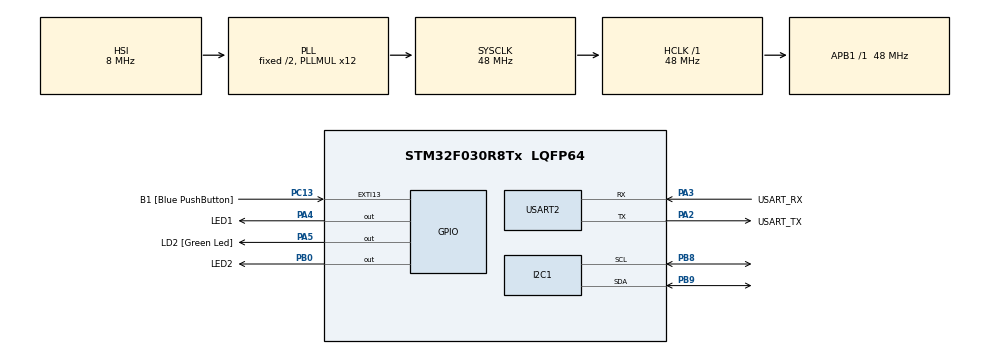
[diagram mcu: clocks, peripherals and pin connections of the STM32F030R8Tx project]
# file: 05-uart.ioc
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Dma.Request0=USART2_RX
Dma.USART2_RX.0.Direction=DMA_PERIPH_TO_MEMORY
Dma.USART2_RX.0.Instance=DMA1_Channel5
Dma.USART2_RX.0.MemDataAlignment=DMA_MDATAALIGN_BYTE
Dma.USART2_RX.0.MemInc=DMA_MINC_ENABLE
Dma.USART2_RX.0.Mode=DMA_CIRCULAR
Dma.USART2_RX.0.PeriphDataAlignment=DMA_PDATAALIGN_BYTE
Dma.USART2_RX.0.PeriphInc=DMA_PINC_DISABLE
Dma.USART2_RX.0.Priority=DMA_PRIORITY_LOW
I2C1.Timing=0x00201D2B
Mcu.Family=STM32F0
Mcu.Name=STM32F030R8Tx
Mcu.Package=LQFP64
NVIC.DMA1_Channel4_5_IRQn=true\:0\:0\:false\:false\:true\:false\:true\:true
PA13.GPIO_Label=TMS
PA13.Mode=Serial_Wire
PA13.Signal=SYS_SWDIO
PA14.GPIO_Label=TCK
PA14.Mode=Serial_Wire
PA14.Signal=SYS_SWCLK
PA2.GPIO_Label=USART_TX
PA2.GPIO_Mode=GPIO_MODE_AF_PP
PA2.GPIO_PuPd=GPIO_NOPULL
PA2.GPIO_Speed=GPIO_SPEED_FREQ_LOW
PA2.Mode=Asynchronous
PA2.Signal=USART2_TX
PA3.GPIO_Label=USART_RX
PA3.GPIO_Mode=GPIO_MODE_AF_PP
PA3.GPIO_PuPd=GPIO_NOPULL
PA3.GPIO_Speed=GPIO_SPEED_FREQ_LOW
PA3.Mode=Asynchronous
PA3.Signal=USART2_RX
PA4.GPIO_Label=LED1
PA4.Signal=GPIO_Output
PA5.GPIO_Label=LD2 [Green Led]
PA5.GPIO_Mode=GPIO_MODE_OUTPUT_PP
PA5.GPIO_PuPd=GPIO_NOPULL
PA5.GPIO_Speed=GPIO_SPEED_FREQ_LOW
PA5.Signal=GPIO_Output
PB0.GPIO_Label=LED2
PB0.Signal=GPIO_Output
PB8.Mode=I2C
PB8.Signal=I2C1_SCL
PB9.Mode=I2C
PB9.Signal=I2C1_SDA
PC13.GPIO_Label=B1 [Blue PushButton]
PC13.GPIO_ModeDefaultEXTI=GPIO_MODE_IT_FALLING
PC13.Signal=GPXTI13
PC14-OSC32_IN.Mode=LSE-External-Oscillator
PC14-OSC32_IN.Signal=RCC_OSC32_IN
PC15-OSC32_OUT.Mode=LSE-External-Oscillator
PC15-OSC32_OUT.Signal=RCC_OSC32_OUT
PF0-OSC_IN.Mode=HSE-External-Clock-Source
PF0-OSC_IN.Signal=RCC_OSC_IN
PF1-OSC_OUT.Signal=RCC_OSC_OUT
ProjectManager.HeapSize=0x200
ProjectManager.StackSize=0x400
ProjectManager.TargetToolchain=STM32CubeIDE
RCC.AHBFreq_Value=48000000
RCC.APB1Freq_Value=48000000
RCC.APB1TimFreq_Value=48000000
RCC.HCLKFreq_Value=48000000
RCC.PLLMUL=RCC_PLL_MUL12
RCC.SYSCLKFreq_VALUE=48000000
RCC.SYSCLKSource=RCC_SYSCLKSOURCE_PLLCLK
USART2.VirtualMode-Asynchronous=VM_ASYNC
board=NUCLEO-F030R8

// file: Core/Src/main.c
/* USER CODE BEGIN Header */
/**
 ******************************************************************************
 * @file           : main.c
 * @brief          : Main program body
 ******************************************************************************
 * @attention
 *
 * Copyright (c) 2024 STMicroelectronics.
 * All rights reserved.
 *
 * This software is licensed under terms that can be found in the LICENSE file
 * in the root directory of this software component.
 * If no LICENSE file comes with this software, it is provided AS-IS.
 *
 ******************************************************************************
 */
/* USER CODE END Header */
#include "main.h"

/* USER CODE BEGIN Includes */
#include <stdio.h>
#include <stdlib.h>
#include <string.h>
/* USER CODE END Includes */

/* USER CODE BEGIN PD */
#define RX_BUFFER_LEN 64
#define uart_rx_write_ptr (RX_BUFFER_LEN - hdma_usart2_rx.Instance->CNDTR)
#define CMD_BUFFER_LEN 128
#define EEPROM_ADDR 0xA0
/* USER CODE END PD */

I2C_HandleTypeDef hi2c1;

UART_HandleTypeDef huart2;
DMA_HandleTypeDef hdma_usart2_rx;

/* USER CODE BEGIN PV */
static uint8_t uart_rx_buf[RX_BUFFER_LEN];
static volatile uint16_t uart_rx_read_ptr = 0;
/* USER CODE END PV */

void SystemClock_Config(void);
static void MX_GPIO_Init(void);
static void MX_DMA_Init(void);
static void MX_USART2_UART_Init(void);
static void MX_I2C1_Init(void);
/* USER CODE BEGIN PFP */
static void uart_byte_available(uint8_t c);
static void uart_process_command(char*);
/* USER CODE END PFP */

/* USER CODE BEGIN 0 */
int _write(int file, char const *buf, int n)
{
	/* stdout redirection to UART2 */
	HAL_UART_Transmit(&huart2, (uint8_t*)(buf), n, HAL_MAX_DELAY);
	return n;
}

static void uart_byte_available(uint8_t c)
{
	static uint16_t cnt;
	static char data[CMD_BUFFER_LEN];
	if (cnt < CMD_BUFFER_LEN && c >= 32 && c <= 126) data[cnt++] = c;
	if ((c == '\n' || c == '\r') && cnt > 0) {
		data[cnt] = '\0';
		uart_process_command(data);
		cnt = 0;
	}
}

static void uart_process_command(char *cmd){
	char *token;
	uint16_t addr;
	uint8_t value;
	token = strtok(strtok(cmd, "\n"), " ");
	if (strcasecmp(token, "HELLO") == 0) {
		printf("Communication OK");
	}
	else if (strcasecmp(token, "LED1") == 0) {
		token = strtok(NULL, " ");
		if (strcasecmp(token, "ON") == 0) {
			HAL_GPIO_WritePin(LED1_GPIO_Port, LED1_Pin, GPIO_PIN_SET);
		} else if (strcasecmp(token, "OFF") == 0) {
			HAL_GPIO_WritePin(LED1_GPIO_Port, LED1_Pin, GPIO_PIN_RESET);
		}
	}
	else if (strcasecmp(token, "LED2") == 0) {
		token = strtok(NULL, " ");
		if (strcasecmp(token, "ON") == 0) {
			HAL_GPIO_WritePin(LED2_GPIO_Port, LED2_Pin, GPIO_PIN_SET);
		} else if (strcasecmp(token, "OFF") == 0) {
			HAL_GPIO_WritePin(LED2_GPIO_Port, LED2_Pin, GPIO_PIN_RESET);
		}
	}
	else if (strcasecmp(token, "STATUS") == 0) {
		printf("LED 1 is ");
		printf(HAL_GPIO_ReadPin(LED1_GPIO_Port, LED1_Pin) ? "ON" : "OFF");
		printf("\nLED 2 is ");
		printf(HAL_GPIO_ReadPin(LED2_GPIO_Port, LED2_Pin) ? "ON" : "OFF");
	}
	else if (strcasecmp(token, "READ") == 0) {
		token = strtok(NULL, " ");
		addr = atoi(token);
		while (HAL_I2C_IsDeviceReady(&hi2c1, EEPROM_ADDR, 300, 1000) != HAL_OK) {}
		HAL_I2C_Mem_Read(&hi2c1, EEPROM_ADDR, addr, I2C_MEMADD_SIZE_16BIT, &value, 1, 1000);
		printf("Address %d = %d", addr, value);
	}
	else if (strcasecmp(token, "WRITE") == 0) {
		token = strtok(NULL, " ");
		addr = atoi(token);
		token = strtok(NULL, " ");
		value = atoi(token);
		while (HAL_I2C_IsDeviceReady(&hi2c1, EEPROM_ADDR, 300, 1000)!= HAL_OK) {}
		HAL_I2C_Mem_Write(&hi2c1, EEPROM_ADDR, addr, I2C_MEMADD_SIZE_16BIT, &value, 1, 1000);
		printf("OK");
	}
	else if (strcasecmp(token, "DUMP") == 0) {
		for (int i = 0x0000; i <= 0x000F; i++) {
			while (HAL_I2C_IsDeviceReady(&hi2c1, EEPROM_ADDR, 300, 1000) != HAL_OK) {}
			HAL_I2C_Mem_Read(&hi2c1, EEPROM_ADDR, i, I2C_MEMADD_SIZE_16BIT, &value, 1, 1000);
			printf("%02d", value);
			if (i % 8 == 7) {
				printf("\n");
			} else {
				printf(" ");
			}
		}
	} else if (strcasecmp(token, "CLEAR") == 0) {
		for (int i = 0x0000; i <= 0x000F; i++) {
			value = 0;
			while (HAL_I2C_IsDeviceReady(&hi2c1, EEPROM_ADDR, 300, 1000) != HAL_OK) {}
			HAL_I2C_Mem_Write(&hi2c1, EEPROM_ADDR, i, I2C_MEMADD_SIZE_16BIT, &value, 1, 1000);
		}
		printf("OK");
	} else {
		printf("\'%s\' is not a valid command.", token);
	}
	printf("\n");
}
/* USER CODE END 0 */

int main(void)
{

  /* MCU Configuration--------------------------------------------------------*/

  /* Reset of all peripherals, Initializes the Flash interface and the Systick. */
  HAL_Init();

  /* Configure the system clock */
  SystemClock_Config();

  /* Initialize all configured peripherals */
  MX_GPIO_Init();
  MX_DMA_Init();
  MX_USART2_UART_Init();
  MX_I2C1_Init();
  /* USER CODE BEGIN 2 */
	HAL_UART_Receive_DMA(&huart2, uart_rx_buf, RX_BUFFER_LEN);

  /* USER CODE END 2 */

  /* Infinite loop */
  /* USER CODE BEGIN WHILE */
	while (1)
	{
		while (uart_rx_read_ptr != uart_rx_write_ptr) {
			uint8_t b = uart_rx_buf[uart_rx_read_ptr];

			// increase read pointer
			if (++uart_rx_read_ptr >= RX_BUFFER_LEN) uart_rx_read_ptr = 0;

			// process every received byte with the RX state machine
			uart_byte_available(b);
		}
    /* USER CODE END WHILE */

	}
}

void SystemClock_Config(void)
{
  RCC_OscInitTypeDef RCC_OscInitStruct = {0};
  RCC_ClkInitTypeDef RCC_ClkInitStruct = {0};
  RCC_PeriphCLKInitTypeDef PeriphClkInit = {0};

  /** Initializes the RCC Oscillators according to the specified parameters
  * in the RCC_OscInitTypeDef structure.
  */
  RCC_OscInitStruct.OscillatorType = RCC_OSCILLATORTYPE_HSI;
  RCC_OscInitStruct.HSIState = RCC_HSI_ON;
  RCC_OscInitStruct.HSICalibrationValue = RCC_HSICALIBRATION_DEFAULT;
  RCC_OscInitStruct.PLL.PLLState = RCC_PLL_ON;
  RCC_OscInitStruct.PLL.PLLSource = RCC_PLLSOURCE_HSI;
  RCC_OscInitStruct.PLL.PLLMUL = RCC_PLL_MUL12;
  RCC_OscInitStruct.PLL.PREDIV = RCC_PREDIV_DIV1;
  if (HAL_RCC_OscConfig(&RCC_OscInitStruct) != HAL_OK)
  {
    Error_Handler();
  }

  /** Initializes the CPU, AHB and APB buses clocks
  */
  RCC_ClkInitStruct.ClockType = RCC_CLOCKTYPE_HCLK|RCC_CLOCKTYPE_SYSCLK
                              |RCC_CLOCKTYPE_PCLK1;
  RCC_ClkInitStruct.SYSCLKSource = RCC_SYSCLKSOURCE_PLLCLK;
  RCC_ClkInitStruct.AHBCLKDivider = RCC_SYSCLK_DIV1;
  RCC_ClkInitStruct.APB1CLKDivider = RCC_HCLK_DIV1;

  if (HAL_RCC_ClockConfig(&RCC_ClkInitStruct, FLASH_LATENCY_1) != HAL_OK)
  {
    Error_Handler();
  }
  PeriphClkInit.PeriphClockSelection = RCC_PERIPHCLK_I2C1;
  PeriphClkInit.I2c1ClockSelection = RCC_I2C1CLKSOURCE_HSI;
  if (HAL_RCCEx_PeriphCLKConfig(&PeriphClkInit) != HAL_OK)
  {
    Error_Handler();
  }
}

static void MX_I2C1_Init(void)
{

  hi2c1.Instance = I2C1;
  hi2c1.Init.Timing = 0x00201D2B;
  hi2c1.Init.OwnAddress1 = 0;
  hi2c1.Init.AddressingMode = I2C_ADDRESSINGMODE_7BIT;
  hi2c1.Init.DualAddressMode = I2C_DUALADDRESS_DISABLE;
  hi2c1.Init.OwnAddress2 = 0;
  hi2c1.Init.OwnAddress2Masks = I2C_OA2_NOMASK;
  hi2c1.Init.GeneralCallMode = I2C_GENERALCALL_DISABLE;
  hi2c1.Init.NoStretchMode = I2C_NOSTRETCH_DISABLE;
  if (HAL_I2C_Init(&hi2c1) != HAL_OK)
  {
    Error_Handler();
  }

  /** Configure Analogue filter
  */
  if (HAL_I2CEx_ConfigAnalogFilter(&hi2c1, I2C_ANALOGFILTER_ENABLE) != HAL_OK)
  {
    Error_Handler();
  }

  /** Configure Digital filter
  */
  if (HAL_I2CEx_ConfigDigitalFilter(&hi2c1, 0) != HAL_OK)
  {
    Error_Handler();
  }

}

static void MX_USART2_UART_Init(void)
{

  huart2.Instance = USART2;
  huart2.Init.BaudRate = 38400;
  huart2.Init.WordLength = UART_WORDLENGTH_8B;
  huart2.Init.StopBits = UART_STOPBITS_1;
  huart2.Init.Parity = UART_PARITY_NONE;
  huart2.Init.Mode = UART_MODE_TX_RX;
  huart2.Init.HwFlowCtl = UART_HWCONTROL_NONE;
  huart2.Init.OverSampling = UART_OVERSAMPLING_16;
  huart2.Init.OneBitSampling = UART_ONE_BIT_SAMPLE_DISABLE;
  huart2.AdvancedInit.AdvFeatureInit = UART_ADVFEATURE_NO_INIT;
  if (HAL_UART_Init(&huart2) != HAL_OK)
  {
    Error_Handler();
  }

}

static void MX_DMA_Init(void)
{

  /* DMA controller clock enable */
  __HAL_RCC_DMA1_CLK_ENABLE();

  /* DMA interrupt init */
  /* DMA1_Channel4_5_IRQn interrupt configuration */
  HAL_NVIC_SetPriority(DMA1_Channel4_5_IRQn, 0, 0);
  HAL_NVIC_EnableIRQ(DMA1_Channel4_5_IRQn);

}

static void MX_GPIO_Init(void)
{
  GPIO_InitTypeDef GPIO_InitStruct = {0};

  /* GPIO Ports Clock Enable */
  __HAL_RCC_GPIOC_CLK_ENABLE();
  __HAL_RCC_GPIOF_CLK_ENABLE();
  __HAL_RCC_GPIOA_CLK_ENABLE();
  __HAL_RCC_GPIOB_CLK_ENABLE();

  /*Configure GPIO pin Output Level */
  HAL_GPIO_WritePin(GPIOA, LED1_Pin|LD2_Pin, GPIO_PIN_RESET);

  /*Configure GPIO pin Output Level */
  HAL_GPIO_WritePin(LED2_GPIO_Port, LED2_Pin, GPIO_PIN_RESET);

  /*Configure GPIO pin : B1_Pin */
  GPIO_InitStruct.Pin = B1_Pin;
  GPIO_InitStruct.Mode = GPIO_MODE_IT_FALLING;
  GPIO_InitStruct.Pull = GPIO_NOPULL;
  HAL_GPIO_Init(B1_GPIO_Port, &GPIO_InitStruct);

  /*Configure GPIO pins : LED1_Pin LD2_Pin */
  GPIO_InitStruct.Pin = LED1_Pin|LD2_Pin;
  GPIO_InitStruct.Mode = GPIO_MODE_OUTPUT_PP;
  GPIO_InitStruct.Pull = GPIO_NOPULL;
  GPIO_InitStruct.Speed = GPIO_SPEED_FREQ_LOW;
  HAL_GPIO_Init(GPIOA, &GPIO_InitStruct);

  /*Configure GPIO pin : LED2_Pin */
  GPIO_InitStruct.Pin = LED2_Pin;
  GPIO_InitStruct.Mode = GPIO_MODE_OUTPUT_PP;
  GPIO_InitStruct.Pull = GPIO_NOPULL;
  GPIO_InitStruct.Speed = GPIO_SPEED_FREQ_LOW;
  HAL_GPIO_Init(LED2_GPIO_Port, &GPIO_InitStruct);

}

void Error_Handler(void)
{
	__disable_irq();
	while (1)
	{
	}
}
